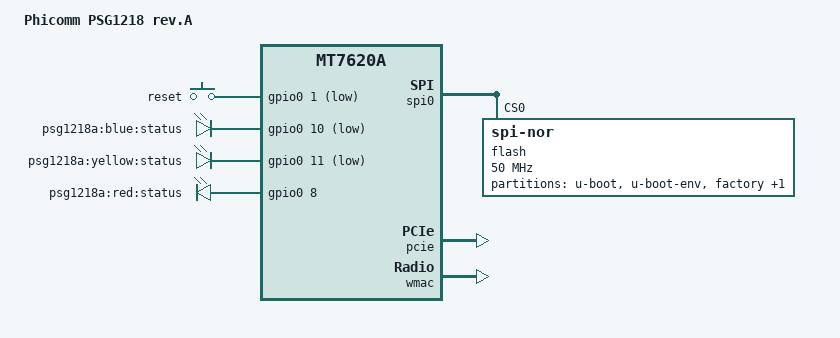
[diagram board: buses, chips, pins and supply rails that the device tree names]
  
/dts-v1/;

#include "mt7620a.dtsi"

#include <dt-bindings/gpio/gpio.h>
#include <dt-bindings/input/input.h>

/ {
	compatible = "phicomm,psg1218a", "ralink,mt7620a-soc";
	model = "Phicomm PSG1218 rev.A";

	aliases {
		led-boot = &led_blue;
		led-failsafe = &led_blue;
		led-running = &led_blue;
		led-upgrade = &led_blue;
	};

	keys {
		compatible = "gpio-keys";

		reset {
			label = "reset";
			gpios = <&gpio0 1 GPIO_ACTIVE_LOW>;
			linux,code = <KEY_RESTART>;
		};
	};
	leds {
		compatible = "gpio-leds";

		led_blue: blue {
			label = "psg1218a:blue:status";
			gpios = <&gpio0 10 GPIO_ACTIVE_LOW>;
			default-state = "on";
		};

		yellow {
			label = "psg1218a:yellow:status";
			gpios = <&gpio0 11 GPIO_ACTIVE_LOW>;
		};

		red {
			label = "psg1218a:red:status";
			gpios = <&gpio0 8 GPIO_ACTIVE_HIGH>;
		};
	};
};

&gpio0 {
	status = "okay";
};

&spi0 {
	status = "okay";

	flash@0 {
		compatible = "jedec,spi-nor";
		reg = <0>;
		spi-max-frequency = <50000000>;
		m25p,fast-read;

		partitions: partitions {
			compatible = "fixed-partitions";
			#address-cells = <1>;
			#size-cells = <1>;

			partition@0 {
				label = "u-boot";
				reg = <0x0 0x30000>;
				read-only;
			};

			partition@20000 {
				label = "u-boot-env";
				reg = <0x30000 0x10000>;
				read-only;
			};

			factory: partition@30000 {
				label = "factory";
				reg = <0x40000 0x10000>;
				read-only;
			};

			partition@40000 {
				compatible = "denx,uimage";
				label = "firmware";
				reg = <0x50000 0xfb0000>;
			};
		};
	};
};

&state_default {
	gpio {
		groups = "i2c", "uartf", "rgmii1", "rgmii2", "wled", "nd_sd";
		function = "gpio";
	};
};

&pcie {
	status = "okay";
};

&pcie0 {
	mt76@0,0 {
		reg = <0x0000 0 0 0 0>;
		mediatek,mtd-eeprom = <&factory 0x8000>;
		ieee80211-freq-limit = <5000000 6000000>;
	};
};

&ethernet {
	pinctrl-names = "default";
	pinctrl-0 = <&ephy_pins>;

	mtd-mac-address = <&factory 0x28>;

	mediatek,portmap = "llllw";
};
&wmac {
	ralink,mtd-eeprom = <&factory 0x0>;
	pinctrl-names = "default";
	pinctrl-0 = <&pa_pins>;
};
